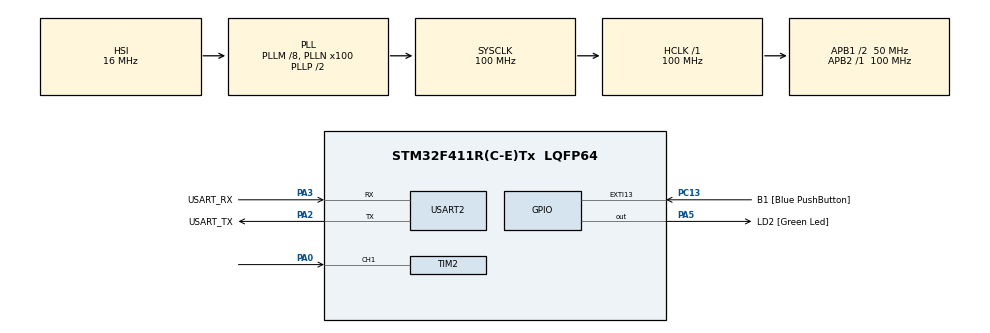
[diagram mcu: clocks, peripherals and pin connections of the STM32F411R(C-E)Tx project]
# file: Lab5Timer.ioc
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Dma.Request0=TIM2_CH1
Dma.TIM2_CH1.0.Direction=DMA_PERIPH_TO_MEMORY
Dma.TIM2_CH1.0.FIFOMode=DMA_FIFOMODE_DISABLE
Dma.TIM2_CH1.0.Instance=DMA1_Stream5
Dma.TIM2_CH1.0.MemDataAlignment=DMA_MDATAALIGN_WORD
Dma.TIM2_CH1.0.MemInc=DMA_MINC_ENABLE
Dma.TIM2_CH1.0.Mode=DMA_CIRCULAR
Dma.TIM2_CH1.0.PeriphDataAlignment=DMA_PDATAALIGN_WORD
Dma.TIM2_CH1.0.PeriphInc=DMA_PINC_DISABLE
Dma.TIM2_CH1.0.Priority=DMA_PRIORITY_LOW
Mcu.Family=STM32F4
Mcu.Name=STM32F411R(C-E)Tx
Mcu.Package=LQFP64
NVIC.DMA1_Stream5_IRQn=true\:0\:0\:false\:false\:true\:false\:true
NVIC.PriorityGroup=NVIC_PRIORITYGROUP_0
NVIC.TIM2_IRQn=true\:0\:0\:false\:false\:true\:true\:true
NVIC.TIM5_IRQn=true\:0\:0\:false\:false\:true\:true\:true
PA0-WKUP.Signal=S_TIM2_CH1_ETR
PA13.GPIO_Label=TMS
PA13.Mode=Serial_Wire
PA13.Signal=SYS_JTMS-SWDIO
PA14.GPIO_Label=TCK
PA14.Mode=Serial_Wire
PA14.Signal=SYS_JTCK-SWCLK
PA2.GPIO_Label=USART_TX
PA2.Mode=Asynchronous
PA2.Signal=USART2_TX
PA3.GPIO_Label=USART_RX
PA3.Mode=Asynchronous
PA3.Signal=USART2_RX
PA5.GPIO_Label=LD2 [Green Led]
PA5.Signal=GPIO_Output
PB3.GPIO_Label=SWO
PB3.Signal=SYS_JTDO-SWO
PC13-ANTI_TAMP.GPIO_Label=B1 [Blue PushButton]
PC13-ANTI_TAMP.GPIO_ModeDefaultEXTI=GPIO_MODE_IT_FALLING
PC13-ANTI_TAMP.Signal=GPXTI13
PC14-OSC32_IN.Mode=LSE-External-Oscillator
PC14-OSC32_IN.Signal=RCC_OSC32_IN
PC15-OSC32_OUT.Mode=LSE-External-Oscillator
PC15-OSC32_OUT.Signal=RCC_OSC32_OUT
PH0\ -\ OSC_IN.Mode=HSE-External-Clock-Source
PH0\ -\ OSC_IN.Signal=RCC_OSC_IN
PH1\ -\ OSC_OUT.Mode=HSE-External-Clock-Source
PH1\ -\ OSC_OUT.Signal=RCC_OSC_OUT
ProjectManager.HeapSize=0x200
ProjectManager.StackSize=0x400
ProjectManager.TargetToolchain=STM32CubeIDE
RCC.48MHZClocksFreq_Value=50000000
RCC.AHBFreq_Value=100000000
RCC.APB1CLKDivider=RCC_HCLK_DIV2
RCC.APB1Freq_Value=50000000
RCC.APB1TimFreq_Value=100000000
RCC.APB2Freq_Value=100000000
RCC.APB2TimFreq_Value=100000000
RCC.CortexFreq_Value=100000000
RCC.FLatency-AdvancedSettings=FLASH_LATENCY_3
RCC.HCLKFreq_Value=100000000
RCC.HSE_VALUE=8000000
RCC.HSI_VALUE=16000000
RCC.PLLM=8
RCC.PLLN=100
RCC.SYSCLKFreq_VALUE=100000000
RCC.SYSCLKSource=RCC_SYSCLKSOURCE_PLLCLK
RCC.VCOOutputFreq_Value=200000000
SH.S_TIM2_CH1_ETR.0=TIM2_CH1,Input_Capture1_from_TI1
TIM2.Channel-Input_Capture1_from_TI1=TIM_CHANNEL_1
TIM2.ICFilter_CH1=2
TIM2.Prescaler=99
TIM5.Prescaler=99
USART2.VirtualMode=VM_ASYNC
VP_TIM2_VS_ClockSourceINT.Mode=Internal
VP_TIM5_VS_ClockSourceINT.Mode=Internal
board=NUCLEO-F411RE

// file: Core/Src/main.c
/* USER CODE BEGIN Header */
/**
  ******************************************************************************
  * @file           : main.c
  * @brief          : Main program body
  ******************************************************************************
  * @attention
  *
  * <h2><center>&copy; Copyright (c) 2021 STMicroelectronics.
  * All rights reserved.</center></h2>
  *
  * This software component is licensed by ST under BSD 3-Clause license,
  * the "License"; You may not use this file except in compliance with the
  * License. You may obtain a copy of the License at:
  *                        opensource.org/licenses/BSD-3-Clause
  *
  ******************************************************************************
  */
/* USER CODE END Header */
#include "main.h"

/* USER CODE BEGIN PD */
#define CAPTURENUM 32
/* USER CODE END PD */

TIM_HandleTypeDef htim2;
TIM_HandleTypeDef htim5;
DMA_HandleTypeDef hdma_tim2_ch1;

UART_HandleTypeDef huart2;

/* USER CODE BEGIN PV */

//12 P/R , Gear reduction 1 : 64
uint32_t capturedata[CAPTURENUM] = { 0 };	//DMA Buffer
int32_t DiffTime[CAPTURENUM-1] = { 0 };		//diff time of capture data (microsecond)

//Mean difftime
float MeanTime =0;

//Motor's speed in rpm
float rpm =0;

//for microsecond measurement
uint64_t _micros =0;

/* USER CODE END PV */

void SystemClock_Config(void);
static void MX_GPIO_Init(void);
static void MX_DMA_Init(void);
static void MX_USART2_UART_Init(void);
static void MX_TIM2_Init(void);
static void MX_TIM5_Init(void);
/* USER CODE BEGIN PFP */
void encoderSpeedReaderCycle();		 //Read speed of encoder
uint64_t micros();
/* USER CODE END PFP */

int main(void)
{

  /* MCU Configuration--------------------------------------------------------*/

  /* Reset of all peripherals, Initializes the Flash interface and the Systick. */
  HAL_Init();

  /* Configure the system clock */
  SystemClock_Config();

  /* Initialize all configured peripherals */
  MX_GPIO_Init();
  MX_DMA_Init();
  MX_USART2_UART_Init();
  MX_TIM2_Init();
  MX_TIM5_Init();
  /* USER CODE BEGIN 2 */

  //start Microsecond timer
  HAL_TIM_Base_Start_IT(&htim5);

  //start Input capture in DMA
  HAL_TIM_Base_Start(&htim2);
  HAL_TIM_IC_Start_DMA
  	  	 (&htim2, TIM_CHANNEL_1, (uint32_t*) &capturedata, CAPTURENUM);

  uint64_t timestamp =0;	// uint64 like _micros
  /* USER CODE END 2 */

  /* Infinite loop */
  /* USER CODE BEGIN WHILE */
  while (1)
  {
	  //Task2 : Read speed of encoder
	  encoderSpeedReaderCycle();

	  //Task1 : Blink LED (5Hz)
	  //		 5Hz = 1/T
	  //		   T = 0.2sec
	  //         T/2 = 0.1sec = 100000microsecond
	  if(micros() - timestamp > 100000 )
	  		{
	  			timestamp = micros();
	  			HAL_GPIO_TogglePin(LD2_GPIO_Port,LD2_Pin);
	  		}

    /* USER CODE END WHILE */

  }
}

void SystemClock_Config(void)
{
  RCC_OscInitTypeDef RCC_OscInitStruct = {0};
  RCC_ClkInitTypeDef RCC_ClkInitStruct = {0};

  /** Configure the main internal regulator output voltage
  */
  __HAL_RCC_PWR_CLK_ENABLE();
  __HAL_PWR_VOLTAGESCALING_CONFIG(PWR_REGULATOR_VOLTAGE_SCALE1);
  /** Initializes the RCC Oscillators according to the specified parameters
  * in the RCC_OscInitTypeDef structure.
  */
  RCC_OscInitStruct.OscillatorType = RCC_OSCILLATORTYPE_HSI;
  RCC_OscInitStruct.HSIState = RCC_HSI_ON;
  RCC_OscInitStruct.HSICalibrationValue = RCC_HSICALIBRATION_DEFAULT;
  RCC_OscInitStruct.PLL.PLLState = RCC_PLL_ON;
  RCC_OscInitStruct.PLL.PLLSource = RCC_PLLSOURCE_HSI;
  RCC_OscInitStruct.PLL.PLLM = 8;
  RCC_OscInitStruct.PLL.PLLN = 100;
  RCC_OscInitStruct.PLL.PLLP = RCC_PLLP_DIV2;
  RCC_OscInitStruct.PLL.PLLQ = 4;
  if (HAL_RCC_OscConfig(&RCC_OscInitStruct) != HAL_OK)
  {
    Error_Handler();
  }
  /** Initializes the CPU, AHB and APB buses clocks
  */
  RCC_ClkInitStruct.ClockType = RCC_CLOCKTYPE_HCLK|RCC_CLOCKTYPE_SYSCLK
                              |RCC_CLOCKTYPE_PCLK1|RCC_CLOCKTYPE_PCLK2;
  RCC_ClkInitStruct.SYSCLKSource = RCC_SYSCLKSOURCE_PLLCLK;
  RCC_ClkInitStruct.AHBCLKDivider = RCC_SYSCLK_DIV1;
  RCC_ClkInitStruct.APB1CLKDivider = RCC_HCLK_DIV2;
  RCC_ClkInitStruct.APB2CLKDivider = RCC_HCLK_DIV1;

  if (HAL_RCC_ClockConfig(&RCC_ClkInitStruct, FLASH_LATENCY_3) != HAL_OK)
  {
    Error_Handler();
  }
}

static void MX_TIM2_Init(void)
{

  TIM_ClockConfigTypeDef sClockSourceConfig = {0};
  TIM_MasterConfigTypeDef sMasterConfig = {0};
  TIM_IC_InitTypeDef sConfigIC = {0};

  htim2.Instance = TIM2;
  htim2.Init.Prescaler = 99;
  htim2.Init.CounterMode = TIM_COUNTERMODE_UP;
  htim2.Init.Period = 4294967295;
  htim2.Init.ClockDivision = TIM_CLOCKDIVISION_DIV1;
  htim2.Init.AutoReloadPreload = TIM_AUTORELOAD_PRELOAD_DISABLE;
  if (HAL_TIM_Base_Init(&htim2) != HAL_OK)
  {
    Error_Handler();
  }
  sClockSourceConfig.ClockSource = TIM_CLOCKSOURCE_INTERNAL;
  if (HAL_TIM_ConfigClockSource(&htim2, &sClockSourceConfig) != HAL_OK)
  {
    Error_Handler();
  }
  if (HAL_TIM_IC_Init(&htim2) != HAL_OK)
  {
    Error_Handler();
  }
  sMasterConfig.MasterOutputTrigger = TIM_TRGO_RESET;
  sMasterConfig.MasterSlaveMode = TIM_MASTERSLAVEMODE_DISABLE;
  if (HAL_TIMEx_MasterConfigSynchronization(&htim2, &sMasterConfig) != HAL_OK)
  {
    Error_Handler();
  }
  sConfigIC.ICPolarity = TIM_INPUTCHANNELPOLARITY_RISING;
  sConfigIC.ICSelection = TIM_ICSELECTION_DIRECTTI;
  sConfigIC.ICPrescaler = TIM_ICPSC_DIV1;
  sConfigIC.ICFilter = 2;
  if (HAL_TIM_IC_ConfigChannel(&htim2, &sConfigIC, TIM_CHANNEL_1) != HAL_OK)
  {
    Error_Handler();
  }

}

static void MX_TIM5_Init(void)
{

  TIM_ClockConfigTypeDef sClockSourceConfig = {0};
  TIM_MasterConfigTypeDef sMasterConfig = {0};

  htim5.Instance = TIM5;
  htim5.Init.Prescaler = 99;
  htim5.Init.CounterMode = TIM_COUNTERMODE_UP;
  htim5.Init.Period = 4294967295;
  htim5.Init.ClockDivision = TIM_CLOCKDIVISION_DIV1;
  htim5.Init.AutoReloadPreload = TIM_AUTORELOAD_PRELOAD_DISABLE;
  if (HAL_TIM_Base_Init(&htim5) != HAL_OK)
  {
    Error_Handler();
  }
  sClockSourceConfig.ClockSource = TIM_CLOCKSOURCE_INTERNAL;
  if (HAL_TIM_ConfigClockSource(&htim5, &sClockSourceConfig) != HAL_OK)
  {
    Error_Handler();
  }
  sMasterConfig.MasterOutputTrigger = TIM_TRGO_RESET;
  sMasterConfig.MasterSlaveMode = TIM_MASTERSLAVEMODE_DISABLE;
  if (HAL_TIMEx_MasterConfigSynchronization(&htim5, &sMasterConfig) != HAL_OK)
  {
    Error_Handler();
  }

}

static void MX_USART2_UART_Init(void)
{

  huart2.Instance = USART2;
  huart2.Init.BaudRate = 115200;
  huart2.Init.WordLength = UART_WORDLENGTH_8B;
  huart2.Init.StopBits = UART_STOPBITS_1;
  huart2.Init.Parity = UART_PARITY_NONE;
  huart2.Init.Mode = UART_MODE_TX_RX;
  huart2.Init.HwFlowCtl = UART_HWCONTROL_NONE;
  huart2.Init.OverSampling = UART_OVERSAMPLING_16;
  if (HAL_UART_Init(&huart2) != HAL_OK)
  {
    Error_Handler();
  }

}

static void MX_DMA_Init(void)
{

  /* DMA controller clock enable */
  __HAL_RCC_DMA1_CLK_ENABLE();

  /* DMA interrupt init */
  /* DMA1_Stream5_IRQn interrupt configuration */
  HAL_NVIC_SetPriority(DMA1_Stream5_IRQn, 0, 0);
  HAL_NVIC_EnableIRQ(DMA1_Stream5_IRQn);

}

static void MX_GPIO_Init(void)
{
  GPIO_InitTypeDef GPIO_InitStruct = {0};

  /* GPIO Ports Clock Enable */
  __HAL_RCC_GPIOC_CLK_ENABLE();
  __HAL_RCC_GPIOH_CLK_ENABLE();
  __HAL_RCC_GPIOA_CLK_ENABLE();
  __HAL_RCC_GPIOB_CLK_ENABLE();

  /*Configure GPIO pin Output Level */
  HAL_GPIO_WritePin(LD2_GPIO_Port, LD2_Pin, GPIO_PIN_RESET);

  /*Configure GPIO pin : B1_Pin */
  GPIO_InitStruct.Pin = B1_Pin;
  GPIO_InitStruct.Mode = GPIO_MODE_IT_FALLING;
  GPIO_InitStruct.Pull = GPIO_NOPULL;
  HAL_GPIO_Init(B1_GPIO_Port, &GPIO_InitStruct);

  /*Configure GPIO pin : LD2_Pin */
  GPIO_InitStruct.Pin = LD2_Pin;
  GPIO_InitStruct.Mode = GPIO_MODE_OUTPUT_PP;
  GPIO_InitStruct.Pull = GPIO_NOPULL;
  GPIO_InitStruct.Speed = GPIO_SPEED_FREQ_LOW;
  HAL_GPIO_Init(LD2_GPIO_Port, &GPIO_InitStruct);

}

/* USER CODE BEGIN 4 */

//For :
void encoderSpeedReaderCycle() {

	//get DMA Position form number of data
	//		 CapPos = 32 - (number of empty array)
	uint32_t CapPos =CAPTURENUM -  __HAL_DMA_GET_COUNTER(htim2.hdma[TIM_DMA_ID_CC1]);
	//	So CapPos is position of the next array that will change. (last period)

	uint32_t sum = 0 ;

	//calculate diff from all buffer
	for(register int i=0 ;i < CAPTURENUM-1;i++)
	{
		// Ex. 	CapPos = 16, i = 15
		// 	Difftime = capturedata[(16+1+15)%32] - capturedata[(16+15)%32]
		//			 =      "     [0]            -      "     [31]
		DiffTime[i]  = capturedata[(CapPos+1+i)%CAPTURENUM]-capturedata[(CapPos+i)%CAPTURENUM];

		//Timer can over flow
		if (DiffTime[i] <0)
		{
			DiffTime[i]+=4294967295;
		}
		//Sum all 31 Diff
		sum += DiffTime[i];
	}

	//mean all 31 Diff
	MeanTime = sum / (float)(CAPTURENUM-1);

	//What do we know?
		  //	mean of encoder's speed in microsecond per round (Period)
		  //	motor's gear ratio is 1:64
		  //	encoder 12 pulse per revolute

		  //We need motor's speed in rpm

		  //Solution
		  //	motor's speed in rpm = (1M*60)/(MeanTime*64*12)
		  //						 = [60M/(64*12)]/MeanTime
	      //                     rpm = 78125/MeanTime
	rpm = ((float)78125)/MeanTime;

	//Quiz : 16bit -> MeanTime=65535 -> 78125/65535=1.192111086 rpm
}

//For : What time is it?
uint64_t micros()
{
	return _micros + htim5.Instance->CNT; //Tim5's Counter
}

//task1 : Interrupt when periodElapsed
void HAL_TIM_PeriodElapsedCallback(TIM_HandleTypeDef *htim)
{
 if(htim == &htim5)
 {
	 _micros += 4294967295;
 }
}
/* USER CODE END 4 */

void Error_Handler(void)
{
  __disable_irq();
  while (1)
  {
  }
}

/************************ (C) COPYRIGHT STMicroelectronics *****END OF FILE****/
